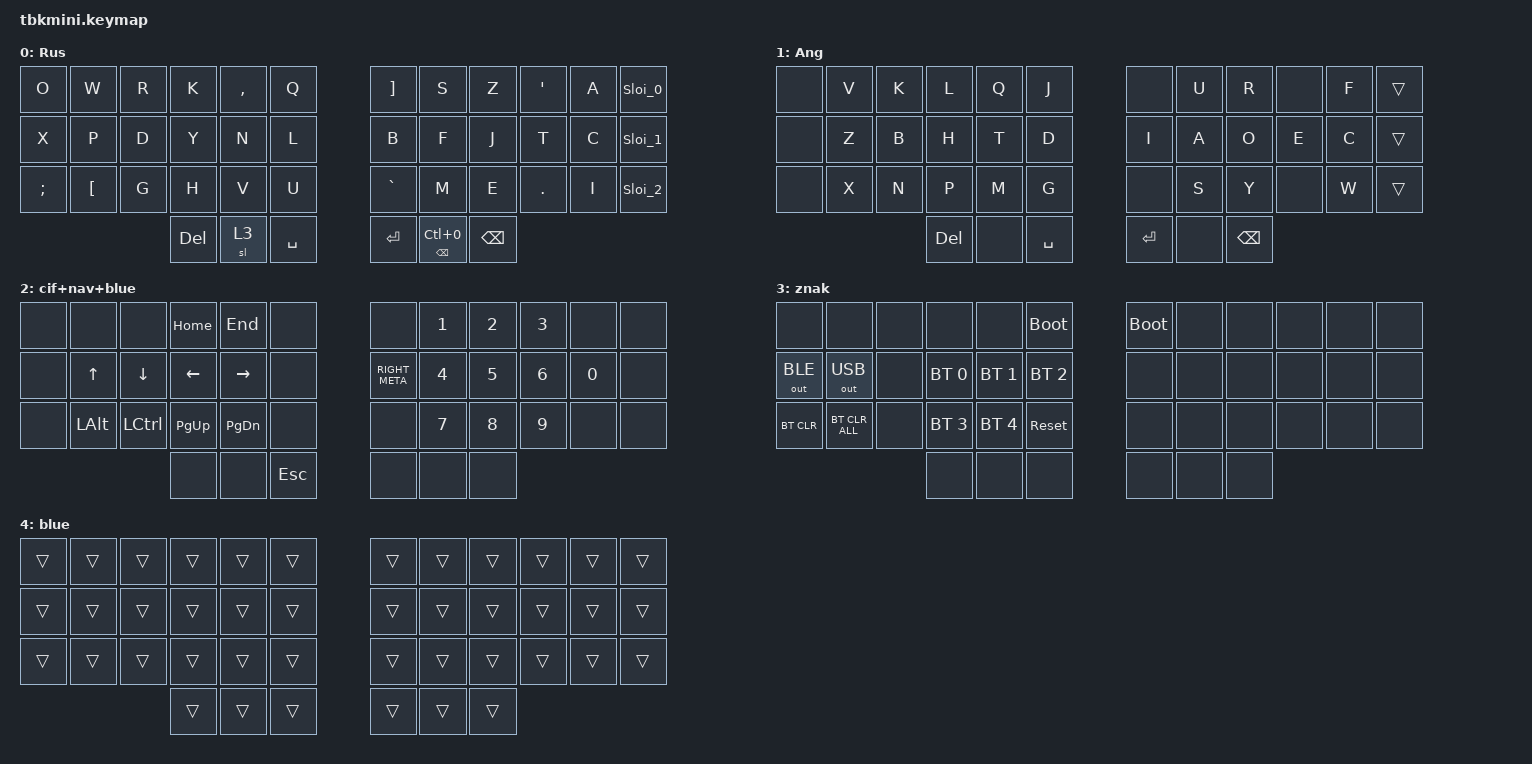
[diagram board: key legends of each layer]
#include <behaviors.dtsi>
#include <dt-bindings/zmk/bt.h>
#include <dt-bindings/zmk/keys.h>
#include <dt-bindings/zmk/outputs.h>

#define Ang_0 0
#define Rus_1 1
#define znak_2 2
#define blue_3 3

&lt {
    tapping-term-ms = <300>;
    quick_tap_ms = <200>;
    flavor = "hold-preferred";
};

/ {
    chosen { zmk,matrix_transform = &default_transform; };

    behaviors {
        rs: raskladka {
            compatible = "zmk,behavior-hold-tap";
            #binding-cells = <2>;
            tapping-term-ms = <200>;
            flavor = "hold-preferred";
            bindings = <&engl>, <&kp>;
        };

        cf: cf {
            compatible = "zmk,behavior-hold-tap";
            #binding-cells = <2>;
            tapping-term-ms = <200>;
            flavor = "hold-preferred";
            bindings = <&cif>, <&kp>;
        };

        lm: left_hand_positional_hold_tap {
            compatible = "zmk,behavior-hold-tap";
            label = "LEFT_HOMEROW_MODS";
            #binding-cells = <2>;
            flavor = "balanced";
            tapping-term-ms = <200>;
            quick-tap-ms = <200>;
            bindings = <&kp>, <&kp>;

            hold-trigger-key-positions = < 6 7 8 9 10 11 18 19 20 21 22 23 30 31 32 33 34 35 >;
        };

        rm: right_hand_positional_hold_tap {
            compatible = "zmk,behavior-hold-tap";
            label = "RIGHT_HOMEROW_MODS";
            #binding-cells = <2>;
            flavor = "balanced";
            tapping-term-ms = <200>;
            quick-tap-ms = <200>;
            bindings = <&kp>, <&kp>;

            hold-trigger-key-positions = < 1 2 3 4 5 12 13 14 15 16 17 25 26 27 28 29>;
        };
    };

    macros {
        Sloi_0: Sloi_0 {
            compatible = "zmk,behavior-macro";
            #binding-cells = <0>;
            bindings = <&macro_tap>, <&to 0 &kp LC(N0)>;

            label = "SLOI_0";
            wait-ms = <15>;
            tap-ms = <30>;
        };

        Sloi_1: sloi_1 {
            compatible = "zmk,behavior-macro";
            #binding-cells = <0>;
            bindings = <&macro_tap>, <&to 1 &kp RC(NUMBER_1)>;

            label = "SLOI_1";
        };

        Sloi_2: Sloi_2 {
            compatible = "zmk,behavior-macro";
            #binding-cells = <0>;
            bindings = <&macro_tap>, <&to 2>;

            label = "SLOI_2";
        };

        Sloi_3: Sloi_3 {
            compatible = "zmk,behavior-macro";
            #binding-cells = <0>;
            bindings = <&macro_tap>, <&to 3>;

            label = "SLOI_3";
        };

        Sloi_4: Sloi_4 {
            compatible = "zmk,behavior-macro";
            #binding-cells = <0>;
            bindings = <&macro_tap>, <&to 2>;

            label = "SLOI_4";
        };

        ravno: ravno {
            compatible = "zmk,behavior-macro";
            #binding-cells = <0>;
            wait-ms = <40>;
            tap-ms = <40>;
            bindings =
                <&macro_press>,
                <&kp LALT>,
                <&macro_tap>,
                <&kp KP_NUMBER_0 &kp KP_N1 &kp KP_NUMBER_7 &kp KP_N1>,
                <&macro_release>,
                <&kp LALT>;

            label = "RAVNO";
        };
    };

    keymap {
        compatible = "zmk,keymap";

        Rus {
            // .--------------------------------------------------------------.       .-----------------------------------------------------------.
            // |   ESC        |    Q    |    W   |   E    |    R    |    T    |       |   Y   |    U    |    I    |    O    |     P    |    [     |
            // |--------------+---------+--------+--------+---------+---------|       |-------+---------+---------+---------+----------+----------|
            // |  SHIFT/Tab   |    A    |    S   |   D    |    F    |    G    |       |   H   |    J    |    K    |    L    |     ;    |     ]    |
            // |--------------+---------+--------+--------+---------+---------|       |-------+---------+---------+---------+----------+----------|
            // |     CTRL     |    Z    |    X   |   C    |    V    |    B    |       |   N   |    M    |    ,    |    .    |     /    |     '    |
            // '---------------------------------+--------+---------+---------+       |-------+---------+---------+-------------------------------'
            //                                   |  ENT   |   MO1   |   A   |       |  BSPC |  SPACE/Spc  |   ALT   |
            //                                   '--------+---------+---------'       '-------+-------------+---------'

            bindings = <
&kp O     &kp W             &kp R  &kp K       &kp COMMA  &kp Q        &kp RIGHT_BRACKET  &kp S                       &kp Z          &kp APOSTROPHE  &kp A  &Sloi_0
&kp X     &kp P             &kp D  &kp Y       &kp N      &kp L        &kp B              &kp F                       &kp J          &kp T           &kp C  &Sloi_1
&kp SEMI  &kp LEFT_BRACKET  &kp G  &kp H       &kp V      &kp U        &kp GRAVE          &kp M                       &kp E          &kp DOT         &kp I  &Sloi_2
                                   &kp DELETE  &sl 3      &kp SPACE    &kp ENTER          &cf BACKSPACE LC(NUMBER_0)  &kp BACKSPACE
            >;
        };

        Ang {
            // .--------------------------------------------------------------.       .-----------------------------------------------------------.
            // |   ~          |    1    |    2   |   3    |    4    |    5    |       |   6   |    7    |    8    |    9    |     0    |    \     |
            // |--------------+---------+--------+--------+---------+---------|       |-------+---------+---------+---------+----------+----------|
            // |   SHIFT      |    !    |    @   |   #    |    $    |    %    |       |   ^   |    &    |    *    |    (    |     )    |     :    |
            // |--------------+---------+--------+--------+---------+---------|       |-------+---------+---------+---------+----------+----------|
            // |    CTRL      |         |    -   |   +    |    {    |    [    |       |   ]   |    }    |    _    |    =    |  A       |
            // '---------------------------------+--------+---------+---------+       |-------+---------+---------+-------------------------------'
            //                                   |  MO3   |         |   GUI   |       |       |         |         |
            //                                   '--------+---------+---------'       '-------+---------+---------'

            bindings = <
&none  &kp V  &kp K  &kp L       &kp Q  &kp J        &none      &kp U  &kp R          &none  &kp F  &trans
&none  &kp Z  &kp B  &kp H       &kp T  &kp D        &kp I      &kp A  &kp O          &kp E  &kp C  &trans
&none  &kp X  &kp N  &kp P       &kp M  &kp G        &none      &kp S  &kp Y          &none  &kp W  &trans
                     &kp DELETE  &none  &kp SPACE    &kp ENTER  &none  &kp BACKSPACE
            >;
        };

        cif+nav+blue {
            // .--------------------------------------------------------------.       .-----------------------------------------------------------------.
            // |              |  PU   |   PU   |   UP   |    PD    |   HOME   |       | PrtScr|  KP_N7   |  KP_N8  |  KP_N9  |          | CMD+SHIFT+4 |
            // |--------------+-------+--------+--------+----------+----------|       |-------+----------+---------+---------+----------+-------------|
            // |     CAPS     |  PD   |  LEFT  |  DOWN  |   RIGHT  |   END    |       |  Ins  |  KP_N4   |  KP_N5  |  KP_N6  |          |             |
            // |--------------+-------+--------+--------+----------+----------|       |-------+----------+---------+---------+----------+-------------|
            // |              |       |        |        |          |          |       | KP_N0 |  KP_N1   |  KP_N2  |  KP_N3  |          |   OUT_TOG   |
            // '-------------------------------+--------+----------+----------+       |-------+----------+---------+----------------------------------'
            //                                 |        |   MO3    |   CTRL   |       |  DEL  |          |         |
            //                                 '--------+----------+----------'       '-------+----------+---------'

            bindings = <
&none  &none         &none             &kp HOME        &kp END          &none      &none           &kp NUMBER_1  &kp NUMBER_2  &kp NUMBER_3  &none         &none
&none  &kp UP_ARROW  &kp DOWN_ARROW    &kp LEFT_ARROW  &kp RIGHT_ARROW  &none      &kp RIGHT_META  &kp NUMBER_4  &kp NUMBER_5  &kp NUMBER_6  &kp NUMBER_0  &none
&none  &kp LEFT_ALT  &kp LEFT_CONTROL  &kp PAGE_UP     &kp PAGE_DOWN    &none      &none           &kp N7        &kp N8        &kp N9        &none         &none
                                       &none           &none            &kp ESC    &none           &none         &none
            >;
        };

        znak {
            // .-------------------------------------------------------------.       .--------------------------------------------------------------.
            // |   F1         |   F2   |   F3   |   F4   |   F5    |   F6    |       |   F7   |   F8   |   F9    |   F10   |   F11    |     F12     |
            // |--------------+--------+--------+--------+---------+---------|       |--------+--------+---------+---------+----------+-------------|
            // |              |        |        |        |         |         |       |        |        |         |         |          |             |
            // |--------------+--------+--------+--------+---------+---------|       |--------+--------+---------+---------+----------+-------------|
            // |     BTCLR    |  BT1   |  BT2   |  BT3   |  BT4    |  BT5    |       | BR_DN  | BR_UP  |         |         |          | play layer  |
            // '--------------------------------+--------+---------+---------+       |--------+--------+---------+----------------------------------'
            //                                  |        |         |  Reset  |       |  MUTE  |  VOL-  |   VOL+  |
            //                                  '--------+---------+---------'       '--------+--------+---------'

            bindings = <
&none         &none           &none  &none         &none         &bootloader     &bootloader  &none  &none  &none  &none  &none
&out OUT_BLE  &out OUT_USB    &none  &bt BT_SEL 0  &bt BT_SEL 1  &bt BT_SEL 2    &none        &none  &none  &none  &none  &none
&bt BT_CLR    &bt BT_CLR_ALL  &none  &bt BT_SEL 3  &bt BT_SEL 4  &sys_reset      &none        &none  &none  &none  &none  &none
                                     &none         &none         &none           &none        &none  &none
            >;
        };

        blue {
            bindings = <
&trans  &trans  &trans  &trans  &trans  &trans    &trans  &trans  &trans  &trans  &trans  &trans
&trans  &trans  &trans  &trans  &trans  &trans    &trans  &trans  &trans  &trans  &trans  &trans
&trans  &trans  &trans  &trans  &trans  &trans    &trans  &trans  &trans  &trans  &trans  &trans
                        &trans  &trans  &trans    &trans  &trans  &trans
            >;
        };
    };
};
